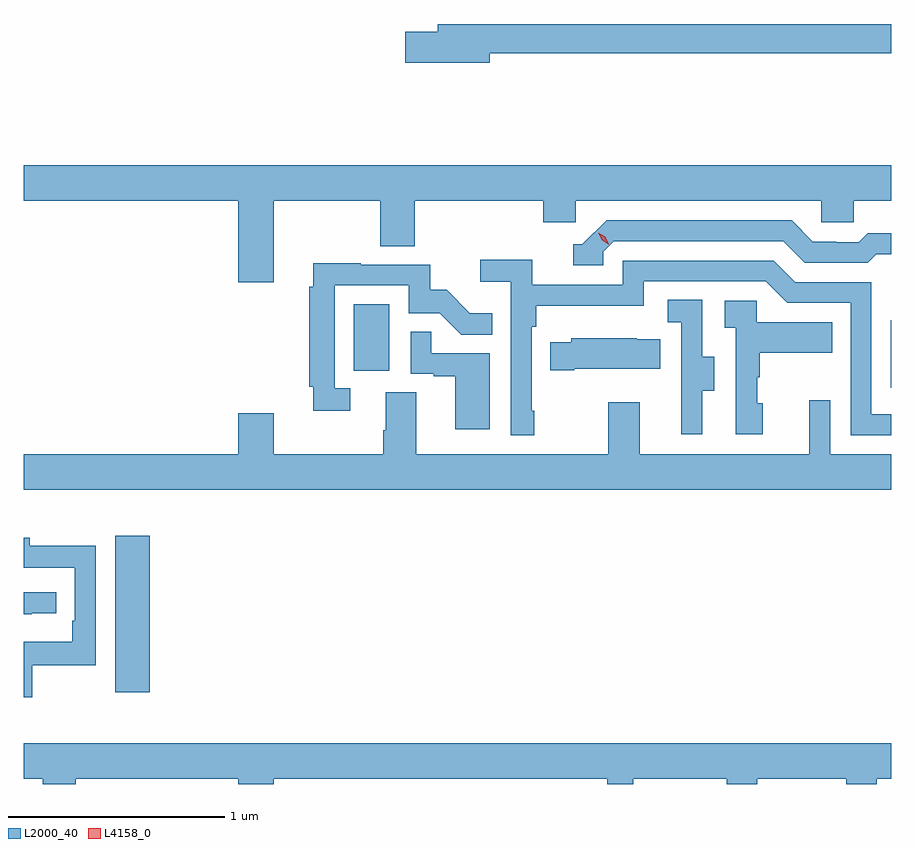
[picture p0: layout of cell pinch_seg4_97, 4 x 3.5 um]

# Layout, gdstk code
import gdstk
lib = gdstk.Library(unit=1e-6, precision=1e-09)
def R(c, l, rs):  # rectangles x0, y0, x1, y1
    for r in rs: c.add(gdstk.rectangle(r[:2], r[2:], *l))
def P(c, l, *ps):  # polygons
    for p in ps: c.add(gdstk.Polygon(p, *l))
L2000_40 = (2000, 40)
L4158_0 = (4158, 0)

pinch_seg4_97 = lib.new_cell('pinch_seg4_97')
R(pinch_seg4_97, L2000_40, [(1063.541,805.212,1063.702,805.933), (1067.118,806.616,1067.12,806.926), (1064.642,806.694,1064.806,807.001)])
P(pinch_seg4_97, L2000_40, [(1065.268,808.156),(1067.12,808.156),(1067.12,808.292),(1065.029,808.292),(1065.029,808.256),(1064.88,808.256),(1064.88,808.114),(1065.268,808.114)],
  [(1063.12,807.476),(1064.108,807.476),(1064.108,807.102),(1064.272,807.102),(1064.272,807.476),(1064.764,807.476),(1064.764,807.268),(1064.924,807.268),(1064.924,807.476),(1065.515,807.476),(1065.515,807.378),(1065.666,807.378),(1065.666,807.476),(1066.797,807.476),(1066.797,807.378),(1066.947,807.378),(1066.947,807.476),(1067.12,807.476),(1067.12,807.64),(1063.12,807.64)],
  [(1065.792,807.243),(1065.84,807.291),(1066.623,807.291),(1066.722,807.192),(1067.011,807.192),(1067.05,807.231),(1067.12,807.231),(1067.12,807.328),(1067.011,807.328),(1066.969,807.285),(1066.866,807.285),(1066.866,807.288),(1066.759,807.288),(1066.66,807.387),(1065.807,807.387),(1065.696,807.276),(1065.653,807.276),(1065.653,807.18),(1065.792,807.18)],
  [(1065.475,806.509),(1065.462,806.509),(1065.462,806.897),(1065.482,806.897),(1065.482,806.993),(1065.978,806.993),(1065.978,807.105),(1066.542,807.105),(1066.641,807.006),(1066.932,807.006),(1066.932,806.397),(1067.12,806.397),(1067.12,806.493),(1067.028,806.493),(1067.028,807.102),(1066.678,807.102),(1066.579,807.201),(1065.882,807.201),(1065.882,807.09),(1065.464,807.09),(1065.464,807.206),(1065.225,807.206),(1065.225,807.104),(1065.366,807.104),(1065.366,806.397),(1065.475,806.397)],
  [(1064.626,806.613),(1064.553,806.613),(1064.553,807.087),(1064.895,807.087),(1064.895,806.958),(1065.039,806.958),(1065.137,806.86),(1065.281,806.86),(1065.281,806.959),(1065.177,806.959),(1065.07,807.066),(1064.994,807.066),(1064.994,807.183),(1064.675,807.183),(1064.675,807.188),(1064.456,807.188),(1064.456,807.08),(1064.437,807.08),(1064.437,806.62),(1064.456,806.62),(1064.456,806.508),(1064.626,806.508)],
  [(1066.249,806.602),(1066.303,806.602),(1066.303,806.757),(1066.248,806.757),(1066.248,807.02),(1066.089,807.02),(1066.089,806.917),(1066.152,806.917),(1066.152,806.613),(1066.151,806.613),(1066.151,806.4),(1066.249,806.4)],
  [(1066.528,806.544),(1066.503,806.544),(1066.503,806.663),(1066.513,806.663),(1066.513,806.777),(1066.847,806.777),(1066.847,806.917),(1066.5,806.917),(1066.5,807.015),(1066.353,807.015),(1066.353,806.891),(1066.404,806.891),(1066.404,806.4),(1066.528,806.4)],
  [(1065.268,806.775),(1064.999,806.775),(1064.999,806.873),(1064.904,806.873),(1064.904,806.679),(1065.011,806.679),(1065.011,806.667),(1065.11,806.667),(1065.11,806.424),(1065.268,806.424)],
  [(1065.658,806.702),(1066.055,806.702),(1066.055,806.839),(1065.947,806.839),(1065.947,806.842),(1065.645,806.842),(1065.645,806.824),(1065.547,806.824),(1065.547,806.695),(1065.658,806.695)],
  [(1067.12,806.308),(1066.839,806.308),(1066.839,806.557),(1066.742,806.557),(1066.742,806.308),(1065.961,806.308),(1065.961,806.548),(1065.814,806.548),(1065.814,806.308),(1064.929,806.308),(1064.929,806.594),(1064.789,806.594),(1064.789,806.42),(1064.777,806.42),(1064.777,806.308),(1064.272,806.308),(1064.272,806.497),(1064.108,806.497),(1064.108,806.308),(1063.12,806.308),(1063.12,806.144),(1067.12,806.144)],
  [(1063.159,805.335),(1063.452,805.335),(1063.452,805.886),(1063.147,805.886),(1063.147,805.924),(1063.12,805.924),(1063.12,805.785),(1063.356,805.785),(1063.356,805.54),(1063.343,805.54),(1063.343,805.444),(1063.12,805.444),(1063.12,805.188),(1063.159,805.188)],
  [(1063.157,805.575),(1063.27,805.575),(1063.27,805.671),(1063.12,805.671),(1063.12,805.57),(1063.157,805.57)],
  [(1063.361,804.812),(1064.108,804.812),(1064.108,804.788),(1064.272,804.788),(1064.272,804.812),(1065.81,804.812),(1065.81,804.788),(1065.931,804.788),(1065.931,804.812),(1066.361,804.812),(1066.361,804.788),(1066.501,804.788),(1066.501,804.812),(1066.913,804.812),(1066.913,804.788),(1067.053,804.788),(1067.053,804.812),(1067.12,804.812),(1067.12,804.976),(1063.12,804.976),(1063.12,804.812),(1063.208,804.812),(1063.208,804.788),(1063.361,804.788)])
P(pinch_seg4_97, L4158_0, [(1065.816,807.277),(1065.786,807.297),(1065.77,807.33),(1065.77,807.33),(1065.77,807.33),(1065.801,807.31),(1065.817,807.278),(1065.817,807.277)])

lib.write_gds('pinch_seg4_97.gds')
